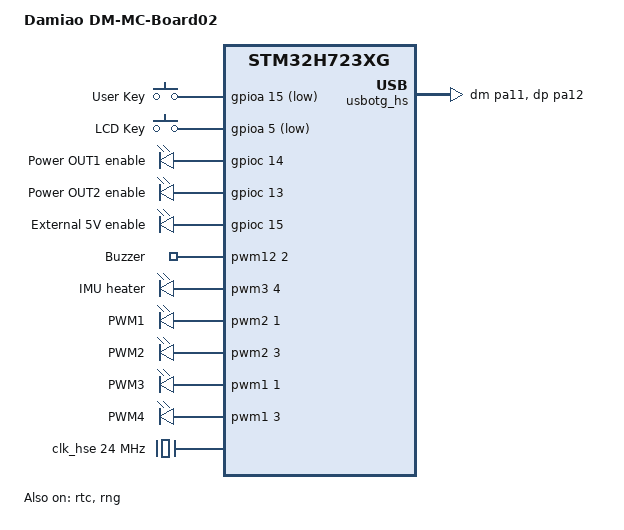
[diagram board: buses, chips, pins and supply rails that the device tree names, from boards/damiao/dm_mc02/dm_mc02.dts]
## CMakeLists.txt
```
cmake_minimum_required(VERSION 3.20.0)

list(APPEND BOARD_ROOT ${CMAKE_CURRENT_SOURCE_DIR})
list(APPEND DTS_ROOT ${CMAKE_CURRENT_SOURCE_DIR})

find_package(Zephyr REQUIRED HINTS $ENV{ZEPHYR_BASE})
project(dm_mc02_template)

set(APP_SOURCES
    src/main.c
    src/drivers/imu_heater/imu_heater.c
    src/board_package/unit_tests/uart_test.c
    src/board_package/unit_tests/pwm_test.c
    src/board_package/unit_tests/can_loopback_test.c
    src/board_package/unit_tests/bmi088_test.c
    src/board_package/unit_tests/imu_temperature_test.c
)

target_sources(app PRIVATE ${APP_SOURCES})
target_include_directories(app PRIVATE include)

target_compile_options(app PRIVATE
    -Wall
    -Wextra
)
```

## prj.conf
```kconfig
# Baseline application configuration for board bring-up.
CONFIG_CONSOLE=y
CONFIG_PRINTK=y
CONFIG_SYS_CLOCK_TICKS_PER_SEC=1000
CONFIG_MAIN_STACK_SIZE=2048

# Drivers used by the board template and minimal tests.
CONFIG_GPIO=y
CONFIG_SERIAL=y
CONFIG_UART_INTERRUPT_DRIVEN=y
CONFIG_SPI=y
CONFIG_PWM=y
CONFIG_CAN=y

# Console goes through SEGGER RTT so USART1 remains available to applications.
CONFIG_USE_SEGGER_RTT=y
CONFIG_RTT_CONSOLE=y
CONFIG_UART_CONSOLE=n

# Logging and debug visibility.
CONFIG_LOG=y
CONFIG_LOG_BACKEND_RTT=y
CONFIG_LOG_MODE_DEFERRED=y
CONFIG_THREAD_NAME=y

# BMI088 through the upstream Zephyr bmi08x sensor driver.
CONFIG_SENSOR=y
CONFIG_SENSOR_ASYNC_API=y
CONFIG_BMI08X=y
CONFIG_BMI08X_ACCEL_TRIGGER_NONE=y
CONFIG_BMI08X_GYRO_TRIGGER_NONE=y

# Floating point is used by the sensor tests and heater controller.
CONFIG_FPU=y
CONFIG_CBPRINTF_FP_SUPPORT=y
```

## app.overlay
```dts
/*
 * SPDX-License-Identifier: Apache-2.0
 *
 * Project-level bring-up overlay for DM-MC02 minimal tests.
 */

#include <zephyr/dt-bindings/gpio/gpio.h>

/ {
	zephyr,user {
		pwms = <&pwm3 4 PWM_MSEC(5) PWM_POLARITY_NORMAL>,
		       <&pwm2 1 PWM_MSEC(20) PWM_POLARITY_NORMAL>;
		pwm-names = "heater", "blink";
	};
};

&usart1 {
	status = "okay";
	current-speed = <115200>;
};

&spi2 {
	status = "okay";
};

&bmi088_accel {
	status = "okay";
};

&bmi088_gyro {
	status = "okay";
};

&timers2 {
	status = "okay";
	st,prescaler = <274>;

	pwm2: pwm {
		status = "okay";
	};
};

&timers3 {
	status = "okay";
	st,prescaler = <274>;

	pwm3: pwm {
		status = "okay";
	};
};

&fdcan1 {
	status = "okay";
	bitrate = <500000>;
	sample-point = <875>;
};
```

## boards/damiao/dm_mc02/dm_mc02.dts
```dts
/*
 * Copyright (c) 2026
 *
 * SPDX-License-Identifier: Apache-2.0
 */

/dts-v1/;
#include <st/h7/stm32h723Xg.dtsi>
#include <st/h7/stm32h723zgtx-pinctrl.dtsi>
#include <zephyr/dt-bindings/flash_controller/ospi.h>
#include <zephyr/dt-bindings/input/input-event-codes.h>
#include <zephyr/dt-bindings/led/led.h>

/ {
	model = "Damiao DM-MC-Board02";
	compatible = "damiao,dm-mc02";

	chosen {
		/* Console is selected by Kconfig as SEGGER RTT. */
		zephyr,dtcm = &dtcm;
		zephyr,sram = &sram0;
		zephyr,flash = &flash0;
		zephyr,canbus = &fdcan1;
	};

	keys: gpio_keys {
		compatible = "gpio-keys";

		user_button: user_button {
			label = "User Key";
			gpios = <&gpioa 15 GPIO_ACTIVE_LOW>;
			zephyr,code = <INPUT_KEY_0>;
		};

		lcd_button: lcd_button {
			label = "LCD Key";
			gpios = <&gpioa 5 GPIO_ACTIVE_LOW>;
			zephyr,code = <INPUT_KEY_1>;
		};
	};

	power_outputs: power_outputs {
		compatible = "gpio-leds";

		power_out1_en: power_out1_en {
			gpios = <&gpioc 14 GPIO_ACTIVE_HIGH>;
			label = "Power OUT1 enable";
		};

		power_out2_en: power_out2_en {
			gpios = <&gpioc 13 GPIO_ACTIVE_HIGH>;
			label = "Power OUT2 enable";
		};

		power_5v_en: power_5v_en {
			gpios = <&gpioc 15 GPIO_ACTIVE_HIGH>;
			label = "External 5V enable";
		};
	};

	pwm_outputs: pwm_outputs {
		compatible = "pwm-leds";

		buzzer_pwm: buzzer_pwm {
			pwms = <&pwm12 2 PWM_USEC(250) PWM_POLARITY_NORMAL>;
			label = "Buzzer";
		};

		imu_heater_pwm: imu_heater_pwm {
			/*
			 * The schematic and pinout diagram mark PB1 as TIM3_CH4.
			 * A secondary markdown summary says TIM8_CH4, which does
			 * not match the primary hardware documents.
			 */
			pwms = <&pwm3 4 PWM_MSEC(10) PWM_POLARITY_NORMAL>;
			label = "IMU heater";
		};

		pwm1_out: pwm1_out {
			pwms = <&pwm2 1 PWM_MSEC(20) PWM_POLARITY_NORMAL>;
			label = "PWM1";
		};

		pwm2_out: pwm2_out {
			pwms = <&pwm2 3 PWM_MSEC(20) PWM_POLARITY_NORMAL>;
			label = "PWM2";
		};

		pwm3_out: pwm3_out {
			pwms = <&pwm1 1 PWM_MSEC(20) PWM_POLARITY_NORMAL>;
			label = "PWM3";
		};

		pwm4_out: pwm4_out {
			pwms = <&pwm1 3 PWM_MSEC(20) PWM_POLARITY_NORMAL>;
			label = "PWM4";
		};
	};

	aliases {
		sw0 = &user_button;
		sw1 = &lcd_button;
		pwm-buzzer = &buzzer_pwm;
		pwm-heater = &imu_heater_pwm;
		pwm-servo1 = &pwm1_out;
		pwm-servo2 = &pwm2_out;
		pwm-servo3 = &pwm3_out;
		pwm-servo4 = &pwm4_out;
		led-strip0 = &ws2812;
		spi-lcd = &spi1;
		spi-imu = &spi2;
		spi-expansion = &spi3;
		i2c-lcd = &i2c2;
		i2c-camera = &i2c1;
		volt-adc = &adc1;
		watchdog0 = &iwdg;
	};
};

&clk_hsi48 {
	status = "okay";
};

&clk_lsi {
	status = "okay";
};

&clk_hse {
	clock-frequency = <DT_FREQ_M(24)>;
	status = "okay";
};

&pll {
	div-m = <6>;
	mul-n = <275>;
	div-p = <2>;
	div-q = <4>;
	div-r = <2>;
	clocks = <&clk_hse>;
	status = "okay";
};

&pll2 {
	div-m = <3>;
	mul-n = <50>;
	div-p = <2>;
	div-q = <6>;
	div-r = <2>;
	clocks = <&clk_hse>;
	status = "okay";
};

&rcc {
	clocks = <&pll>;
	clock-frequency = <DT_FREQ_M(550)>;
	d1cpre = <1>;
	hpre = <2>;
	d1ppre = <2>;
	d2ppre1 = <2>;
	d2ppre2 = <2>;
	d3ppre = <2>;
};

&pwr {
	power-supply = "ldo";
};

&usart1 {
	pinctrl-0 = <&usart1_tx_pa9 &usart1_rx_pa10>;
	pinctrl-names = "default";
	current-speed = <115200>;
	status = "disabled";
};

&usart2 {
	pinctrl-0 = <&usart2_tx_pd5 &usart2_rx_pd6 &usart2_de_pd4>;
	pinctrl-names = "default";
	current-speed = <115200>;
	status = "disabled";
};

&usart3 {
	pinctrl-0 = <&usart3_tx_pd8 &usart3_rx_pd9 &usart3_de_pb14>;
	pinctrl-names = "default";
	current-speed = <115200>;
	status = "disabled";
};

&uart5 {
	pinctrl-0 = <&uart5_rx_pd2>;
	pinctrl-names = "default";
	current-speed = <100000>;
	status = "disabled";
};

&uart7 {
	pinctrl-0 = <&uart7_tx_pe8 &uart7_rx_pe7>;
	pinctrl-names = "default";
	current-speed = <115200>;
	status = "disabled";
};

&uart8 {
	pinctrl-0 = <&uart8_tx_pe1 &uart8_rx_pe0>;
	pinctrl-names = "default";
	current-speed = <115200>;
	status = "disabled";
};

&uart9 {
	pinctrl-0 = <&uart9_tx_pd15 &uart9_rx_pd14>;
	pinctrl-names = "default";
	current-speed = <115200>;
	status = "disabled";
};

&usart10 {
	pinctrl-0 = <&usart10_tx_pe3 &usart10_rx_pe2>;
	pinctrl-names = "default";
	current-speed = <115200>;
	status = "disabled";
};

zephyr_udc0: &usbotg_hs {
	pinctrl-0 = <&usb_otg_hs_dm_pa11 &usb_otg_hs_dp_pa12>;
	pinctrl-names = "default";
	status = "okay";
};

&fdcan1 {
	pinctrl-0 = <&fdcan1_rx_pd0 &fdcan1_tx_pd1>;
	pinctrl-names = "default";
	clocks = <&rcc STM32_CLOCK(APB1_2, 8)>,
		 <&rcc STM32_SRC_PLL2_Q FDCAN_SEL(2)>;
	status = "disabled";
};

&fdcan2 {
	pinctrl-0 = <&fdcan2_rx_pb5 &fdcan2_tx_pb6>;
	pinctrl-names = "default";
	clocks = <&rcc STM32_CLOCK(APB1_2, 8)>,
		 <&rcc STM32_SRC_PLL2_Q FDCAN_SEL(2)>;
	status = "disabled";
};

&fdcan3 {
	pinctrl-0 = <&fdcan3_rx_pd12 &fdcan3_tx_pd13>;
	pinctrl-names = "default";
	clocks = <&rcc STM32_CLOCK(APB1_2, 8)>,
		 <&rcc STM32_SRC_PLL2_Q FDCAN_SEL(2)>;
	status = "disabled";
};

&spi1 {
	pinctrl-0 = <&spi1_sck_pb3 &spi1_miso_pb4 &spi1_mosi_pd7>;
	pinctrl-names = "default";
	cs-gpios = <&gpioe 15 GPIO_ACTIVE_LOW>;
	status = "disabled";
};

&spi2 {
	pinctrl-0 = <&spi2_sck_pb13 &spi2_mosi_pc1 &spi2_miso_pc2_c>;
	pinctrl-names = "default";
	cs-gpios = <&gpioc 0 GPIO_ACTIVE_LOW>,
		   <&gpioc 3 GPIO_ACTIVE_LOW>;
	status = "disabled";

	bmi088_accel: bmi088-accel@0 {
		compatible = "bosch,bmi08x-accel";
		reg = <0>;
		spi-max-frequency = <10000000>;
		int-gpios = <&gpioe 10 GPIO_ACTIVE_HIGH>;
		accel-hz = "800";
		accel-fs = <24>;
		int1-map-io = <0x01>;
		int1-conf-io = <0x0a>;
		int2-map-io = <0x00>;
		int2-conf-io = <0x00>;
		status = "disabled";
	};

	bmi088_gyro: bmi088-gyro@1 {
		compatible = "bosch,bmi08x-gyro";
		reg = <1>;
		spi-max-frequency = <10000000>;
		int-gpios = <&gpioe 12 GPIO_ACTIVE_HIGH>;
		gyro-hz = "1000_116";
		gyro-fs = <2000>;
		int3-4-map-io = <0x01>;
		int3-4-conf-io = <0x01>;
		status = "disabled";
	};
};

&spi3 {
	pinctrl-0 = <&spi3_sck_pc10 &spi3_miso_pc11 &spi3_mosi_pc12>;
	pinctrl-names = "default";
	status = "disabled";
};

&spi6 {
	pinctrl-0 = <&spi6_mosi_pa7>;
	pinctrl-names = "default";
	status = "disabled";

	ws2812: ws2812@0 {
		compatible = "worldsemi,ws2812-spi";
		reg = <0>;
		spi-max-frequency = <6400000>;
		chain-length = <1>;
		spi-one-frame = <0x70>;
		spi-zero-frame = <0x40>;
		color-mapping = <LED_COLOR_ID_GREEN
				 LED_COLOR_ID_RED
				 LED_COLOR_ID_BLUE>;
		reset-delay = <80>;
		status = "disabled";
	};
};

&i2c1 {
	pinctrl-0 = <&i2c1_scl_pb8 &i2c1_sda_pb9>;
	pinctrl-names = "default";
	clock-frequency = <I2C_BITRATE_FAST>;
	status = "disabled";
};

&i2c2 {
	pinctrl-0 = <&i2c2_scl_pb10 &i2c2_sda_pb11>;
	pinctrl-names = "default";
	clock-frequency = <I2C_BITRATE_FAST>;
	status = "disabled";
};

&adc1 {
	pinctrl-0 = <&adc1_inp4_pc4>;
	pinctrl-names = "default";
	status = "disabled";
};

&timers1 {
	status = "disabled";

	pwm1: pwm {
		pinctrl-0 = <&tim1_ch1_pe9 &tim1_ch3_pe13>;
		pinctrl-names = "default";
		status = "disabled";
	};
};

&timers2 {
	status = "disabled";

	pwm2: pwm {
		pinctrl-0 = <&tim2_ch1_pa0 &tim2_ch3_pa2>;
		pinctrl-names = "default";
		status = "disabled";
	};
};

&timers3 {
	status = "disabled";

	pwm3: pwm {
		pinctrl-0 = <&tim3_ch4_pb1>;
		pinctrl-names = "default";
		status = "disabled";
	};
};

&timers12 {
	status = "disabled";

	pwm12: pwm {
		pinctrl-0 = <&tim12_ch2_pb15>;
		pinctrl-names = "default";
		status = "disabled";
	};
};

&octospi1 {
	pinctrl-0 = <&octospim_p1_ncs_pe11 &octospim_p1_clk_pb2
		     &octospim_p1_io0_pd11 &octospim_p1_io1_pb0
		     &octospim_p1_io2_pa3 &octospim_p1_io3_pa1>;
	pinctrl-names = "default";
	status = "disabled";

	qspi_flash: qspi-nor-flash@0 {
		compatible = "st,stm32-ospi-nor";
		reg = <0 DT_SIZE_M(8)>;
		ospi-max-frequency = <DT_FREQ_M(80)>;
		spi-bus-width = <OSPI_QUAD_MODE>;
		data-rate = <OSPI_STR_TRANSFER>;
		writeoc = "PP_1_1_4";
		size = <DT_SIZE_M(64)>;
		status = "disabled";
	};
};

&dcmi {
	pinctrl-0 = <&dcmi_hsync_pa4 &dcmi_pixclk_pa6 &dcmi_vsync_pb7
		     &dcmi_d0_pc6 &dcmi_d1_pc7 &dcmi_d2_pc8 &dcmi_d3_pc9
		     &dcmi_d4_pe4 &dcmi_d5_pd3 &dcmi_d6_pe5 &dcmi_d7_pe6>;
	pinctrl-names = "default";
	status = "disabled";
};

&mco1 {
	clocks = <&rcc STM32_SRC_HSE MCO1_SEL(MCO1_SEL_HSE)>;
	clock-names = "clksel";
	prescaler = <MCO1_PRE(MCO_PRE_DIV_1)>;
	pinctrl-0 = <&rcc_mco_1_pa8>;
	pinctrl-names = "default";
	status = "disabled";
};

&rtc {
	clocks = <&rcc STM32_CLOCK(APB4, 16)>,
		 <&rcc STM32_SRC_LSI RTC_SEL(2)>;
	status = "okay";
};

&backup_sram {
	status = "okay";
};

&rng {
	status = "okay";
};
```

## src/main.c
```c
/*
 * Copyright (c) 2026
 *
 * SPDX-License-Identifier: Apache-2.0
 */

#include <zephyr/kernel.h>
#include <zephyr/sys/printk.h>

int main(void)
{
	printk("DM-MC02 Zephyr board template\n");

	return 0;
}
```
